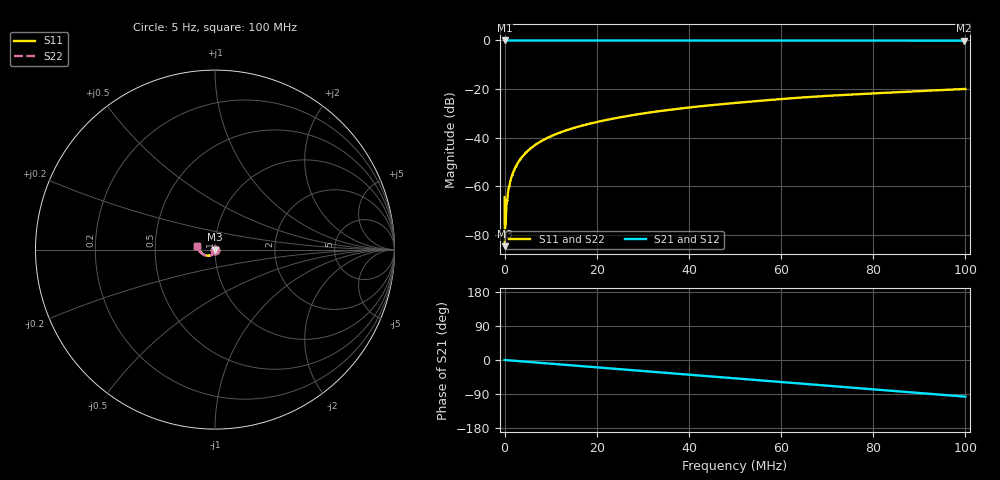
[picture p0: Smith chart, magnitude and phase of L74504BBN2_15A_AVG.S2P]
!Agilent Technologies,E5061B,MY49102235,A.02.00
!Date: Mon Jul 10 17:13:43 2023
!Data & Calibration Information:
!Freq	S11:SOLT2(ON)	S21:SOLT2(ON)	S12:SOLT2(ON)	S22:SOLT2(ON)
# Hz S RI R 50
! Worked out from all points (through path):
!   1600 points, 5 Hz to 100 MHz, reference 50 ohm
!   highest |S21| = 0.02 dB at 5 Hz (marker M1); lowest = 0.0 dB at 99.62 MHz (marker M2)
!   group delay of S21, straight-line fit = 2.69 ns
!   lowest |S11| = -84.5 dB at 62.54 kHz (marker M3), VSWR 1.00, Z = 50 - j0.00257 ohm
!   |S11| at or under -10 dB: start of sweep to end of sweep
!   |S22| runs from -79.3 to -19.9 dB; largest |S21 - S12| = 0.0026
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5  -0.000428 0.000426  1.002 0.00226  1.001 -3.06e-05  -0.00015 -7.91e-05
62544.08  -5.35e-05 -2.58e-05  1 -0.00086  1 -0.000665  2.55e-06 -0.000109
250161.3  5.5e-05 -0.000162  0.9997 -0.00444  0.9998 -0.00417  3.68e-05 -0.000192
562856.8  0.000133 -0.000478  0.9997 -0.00975  0.9996 -0.00917  8.13e-05 -0.000539
687934.9  -2.01e-06 -0.000719  1 -0.0115  1 -0.0117  -5.69e-06 -0.00063
938091.3  -0.000176 -0.000959  0.9996 -0.0157  0.9995 -0.0152  -0.000139 -0.00097
1063169  -6.95e-05 -0.00105  1 -0.018  1 -0.018  -5.19e-05 -0.00112
1313326  -6.93e-05 -0.00134  0.9998 -0.0217  0.9991 -0.022  -7.95e-05 -0.00139
1813638  -0.000111 -0.00188  1 -0.0305  0.9991 -0.0304  -0.000103 -0.00188
2376490  -7.89e-05 -0.00253  0.9998 -0.0404  0.9991 -0.0401  -7.45e-05 -0.00252
3877428  -0.000156 -0.0041  0.9979 -0.0656  0.9976 -0.0653  -0.000277 -0.00415
6003757  -0.000556 -0.00648  0.9947 -0.1016  0.9947 -0.1011  -0.000655 -0.00645
8755477  -0.0013 -0.00925  0.9888 -0.1477  0.9889 -0.1473  -0.00133 -0.0092
1.250782e7  -0.00268 -0.0131  0.9774 -0.2099  0.9774 -0.2098  -0.00265 -0.013
1.669794e7  -0.00489 -0.017  0.9601 -0.2784  0.9601 -0.2783  -0.00473 -0.0171
2.445279e7  -0.0106 -0.0234  0.9155 -0.4014  0.9153 -0.4015  -0.0103 -0.0238
3.333334e7  -0.0193 -0.0293  0.8448 -0.5336  0.8448 -0.5334  -0.0189 -0.03
5.003127e7  -0.0399 -0.0334  0.6624 -0.7471  0.6623 -0.7472  -0.0401 -0.0342
6.672921e7  -0.064 -0.0273  0.4279 -0.9009  0.4278 -0.9005  -0.0641 -0.0279
8.33646e7  -0.0843 -0.00961  0.1608 -0.9828  0.1606 -0.9825  -0.0847 -0.0102
9.962477e7  -0.0989 0.0182  -0.1106 -0.9881  -0.1108 -0.9879  -0.0996 0.0171
1e8  -0.0992 0.0189  -0.1169 -0.9876  -0.1171 -0.9871  -0.0999 0.0177
